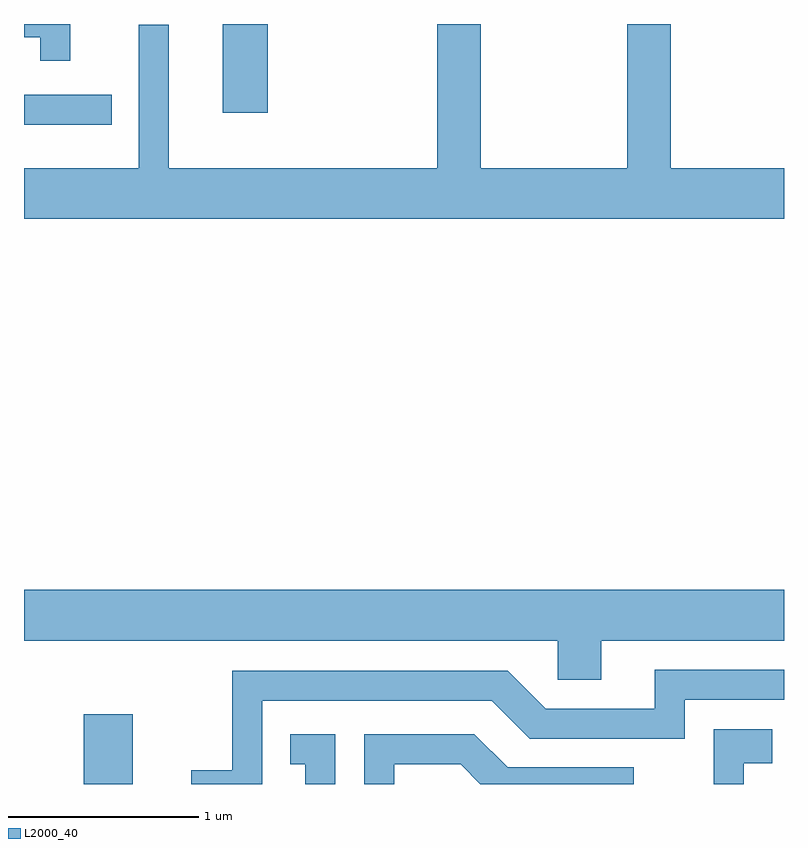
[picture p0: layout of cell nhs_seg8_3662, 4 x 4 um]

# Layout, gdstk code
import gdstk
lib = gdstk.Library(unit=1e-6, precision=1e-09)
def R(c, l, rs):  # rectangles x0, y0, x1, y1
    for r in rs: c.add(gdstk.rectangle(r[:2], r[2:], *l))
def P(c, l, *ps):  # polygons
    for p in ps: c.add(gdstk.Polygon(p, *l))
L2000_40 = (2000, 40)

nhs_seg8_3662 = lib.new_cell('nhs_seg8_3662')
R(nhs_seg8_3662, L2000_40, [(295.926,1822.342,296.184,1822.709), (295.611,1825.811,296.073,1825.969), (296.656,1825.876,296.894,1826.342)])
P(nhs_seg8_3662, L2000_40, [(299.611,1825.584),(299.014,1825.584),(299.014,1826.342),(298.786,1826.342),(298.786,1825.584),(298.014,1825.584),(298.014,1826.342),(297.786,1826.342),(297.786,1825.584),(296.374,1825.584),(296.374,1826.338),(296.216,1826.338),(296.216,1825.584),(295.611,1825.584),(295.611,1825.316),(299.611,1825.316)],
  [(295.854,1826.342),(295.611,1826.342),(295.611,1826.271),(295.696,1826.271),(295.696,1826.148),(295.854,1826.148)],
  [(298.649,1823.096),(299.611,1823.096),(299.611,1823.364),(295.611,1823.364),(295.611,1823.096),(298.421,1823.096),(298.421,1822.891),(298.649,1822.891)],
  [(296.864,1822.781),(298.074,1822.781),(298.274,1822.581),(299.089,1822.581),(299.089,1822.786),(299.611,1822.786),(299.611,1822.944),(298.931,1822.944),(298.931,1822.739),(298.357,1822.739),(298.157,1822.939),(296.706,1822.939),(296.706,1822.414),(296.491,1822.414),(296.491,1822.342),(296.864,1822.342)],
  [(299.399,1822.451),(299.549,1822.451),(299.549,1822.629),(299.241,1822.629),(299.241,1822.342),(299.399,1822.342)],
  [(297.249,1822.604),(297.013,1822.604),(297.013,1822.446),(297.091,1822.446),(297.091,1822.342),(297.249,1822.342)],
  [(297.559,1822.446),(297.909,1822.446),(298.013,1822.342),(298.819,1822.342),(298.819,1822.429),(298.157,1822.429),(297.982,1822.604),(297.401,1822.604),(297.401,1822.342),(297.559,1822.342)])

lib.write_gds('nhs_seg8_3662.gds')
